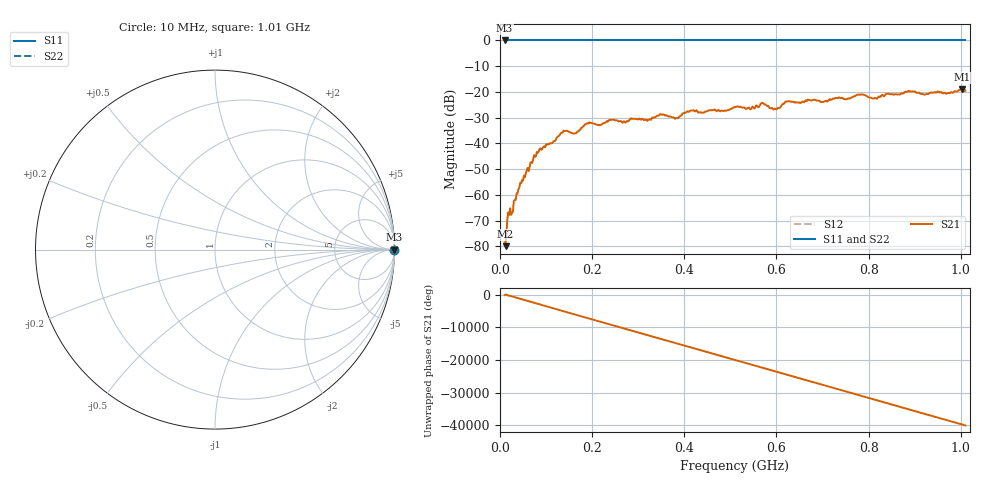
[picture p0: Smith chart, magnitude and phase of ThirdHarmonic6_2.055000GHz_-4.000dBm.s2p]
! 8/17/2025 12:37:46 AM
! C:\ANRITSUVNA\TEMP\TEMP.S2P
! CHANNEL.1
! TR.MEASUREMENT
! RAW.DATA
! RF.CORRECTION.OFF
! AVERAGING.OFF
! IF.BANDWIDTH: 5KHZ
! SWEEPTYPE:  FREQ.SWEEP(Linear)
! Reference Plane Port Info
! PORT:  PORT1  PORT2
! DISTANCE:  0  m  0  m
! TIME:  0  s  0  s
! PHASE.OFFSET:  0  deg.  0  deg.
! LOSS:  0  dB  0  dB
! REF.LOSS:  0  dB  0  dB
! REF.FREQ:  0  Hz  0  Hz
! Power Info
! POWER:  -20  dBm  -20  dBm
! EFF.POWER:  -20  dBm  -20  dBm
! SOURCE.ATTEN:  0  dB  0  dB
! TEST.ATTEN:  0  dB  0  dB
# GHZ S RI R 50.0
! FREQ.GHZ  S11RE  S11IM  S21RE  S21IM  S12RE  S12IM  S22RE  S22IM
!; PortSelection: Port_12
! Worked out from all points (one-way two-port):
!   501 points, 10 MHz to 1.01 GHz, reference 50 ohm
!   highest |S21| = -18.94 dB at 1.002 GHz (marker M1); lowest = -79.9 dB at 12 MHz (marker M2)
!   lowest |S11| = 0.0 dB at 10 MHz (marker M3)
!   |S11| at or under -10 dB: nowhere
!   |S22| runs from 0.0 to 0.0 dB; largest |S21 - S12| = 1.1
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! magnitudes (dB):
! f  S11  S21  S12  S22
! 10 MHz  0.0  -78.5  0.0  0.0
! 12 MHz  0.0  -79.9  0.0  0.0
! 20 MHz  0.0  -67.8  0.0  0.0
! 28 MHz  0.0  -66.4  0.0  0.0
! 44 MHz  0.0  -55.2  0.0  0.0
! 78 MHz  0.0  -44.9  0.0  0.0
! 136 MHz  0.0  -35.7  0.0  0.0
! 162 MHz  0.0  -36.1  0.0  0.0
! 178 MHz  0.0  -33.8  0.0  0.0
! 192 MHz  0.0  -32.3  0.0  0.0
! 324 MHz  0.0  -30.6  0.0  0.0
! 344 MHz  0.0  -29.2  0.0  0.0
! 382 MHz  0.0  -30.2  0.0  0.0
! 416 MHz  0.0  -27.2  0.0  0.0
! 510 MHz  0.0  -25.9  0.0  0.0
! 570 MHz  0.0  -24.2  0.0  0.0
! 598 MHz  0.0  -26.6  0.0  0.0
! 624 MHz  0.0  -23.6  0.0  0.0
! 678 MHz  0.0  -23.2  0.0  0.0
! 844 MHz  0.0  -20.7  0.0  0.0
! 1.002 GHz  0.0  -18.9  0.0  0.0
! 1.01 GHz  0.0  -19.4  0.0  0.0
